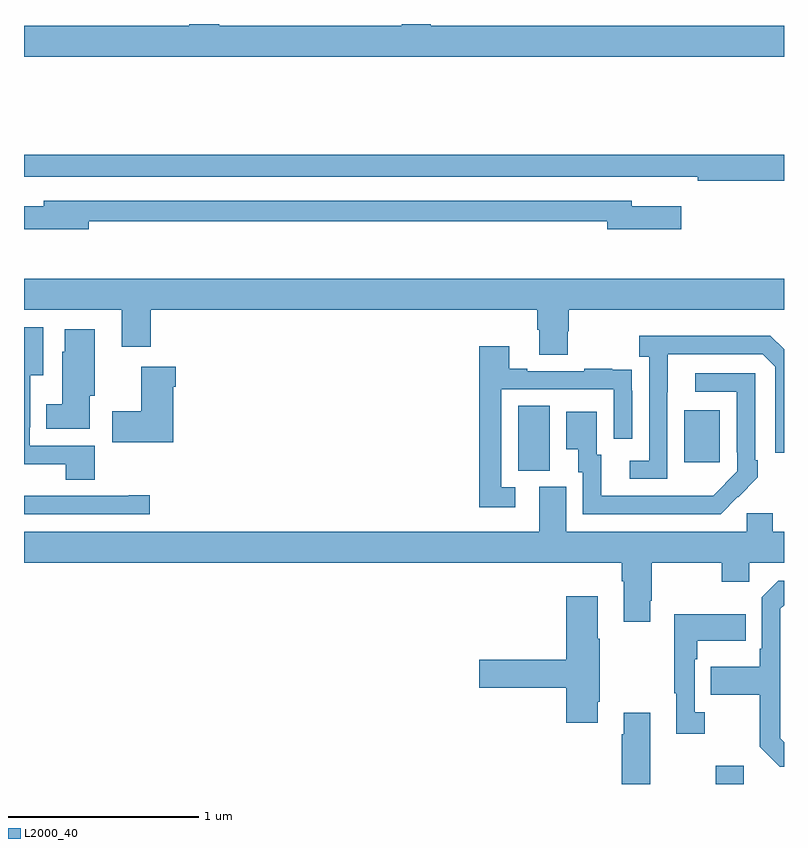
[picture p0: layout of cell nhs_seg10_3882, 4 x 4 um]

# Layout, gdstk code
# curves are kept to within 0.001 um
import gdstk
lib = gdstk.Library(unit=1e-6, precision=1e-09)
def R(c, l, rs):  # rectangles x0, y0, x1, y1
    for r in rs: c.add(gdstk.rectangle(r[:2], r[2:], *l))
def P(c, l, *ps):  # polygons
    for p in ps: c.add(gdstk.Polygon(p, *l))
L2000_40 = (2000, 40)

nhs_seg10_3882 = lib.new_cell('nhs_seg10_3882')
R(nhs_seg10_3882, L2000_40, [(328.642,1284.5,328.789,1284.595), (327.602,1286.149,327.766,1286.492), (328.475,1286.193,328.663,1286.467)])
P(nhs_seg10_3882, L2000_40, [(329,1288.492),(327.14,1288.492),(327.14,1288.5),(326.987,1288.5),(326.987,1288.492),(326.027,1288.492),(326.027,1288.5),(325.871,1288.5),(325.871,1288.492),(325,1288.492),(325,1288.328),(329,1288.328)],
  [(329,1287.812),(325,1287.812),(325,1287.696),(328.294,1287.696),(328.294,1287.695),(328.546,1287.695),(328.546,1287.676),(329,1287.676)],
  [(325.342,1287.462),(328.07,1287.462),(328.07,1287.419),(328.459,1287.419),(328.459,1287.541),(328.198,1287.541),(328.198,1287.57),(325.103,1287.57),(325.103,1287.541),(325,1287.541),(325,1287.419),(325.342,1287.419)],
  [(327.861,1286.883),(327.866,1286.883),(327.866,1286.996),(329,1286.996),(329,1287.16),(325,1287.16),(325,1286.996),(325.514,1286.996),(325.514,1286.802),(325.667,1286.802),(325.667,1286.996),(327.701,1286.996),(327.701,1286.89),(327.713,1286.89),(327.713,1286.758),(327.861,1286.758)],
  [(325.373,1286.28),(325.029,1286.28),(325.029,1286.377),(325.033,1286.377),(325.033,1286.651),(325.102,1286.651),(325.102,1286.905),(325,1286.905),(325,1286.184),(325.22,1286.184),(325.22,1286.101),(325.373,1286.101)],
  [(325.345,1286.544),(325.372,1286.544),(325.372,1286.893),(325.214,1286.893),(325.214,1286.775),(325.202,1286.775),(325.202,1286.5),(325.118,1286.5),(325.118,1286.369),(325.345,1286.369)],
  [(328.386,1286.563),(328.387,1286.763),(328.887,1286.763),(328.953,1286.697),(328.953,1286.244),(329,1286.244),(329,1286.788),(328.928,1286.86),(328.239,1286.86),(328.239,1286.75),(328.29,1286.75),(328.29,1286.202),(328.188,1286.202),(328.188,1286.106),(328.386,1286.106)],
  [(327.586,1286.061),(327.513,1286.061),(327.513,1286.577),(328.104,1286.577),(328.104,1286.316),(328.2,1286.316),(328.2,1286.57),(328.199,1286.57),(328.199,1286.679),(328.097,1286.679),(328.097,1286.686),(327.949,1286.686),(327.949,1286.673),(327.649,1286.673),(327.649,1286.686),(327.553,1286.686),(327.553,1286.803),(327.397,1286.803),(327.397,1285.956),(327.586,1285.956)],
  [(325.786,1286.591),(325.799,1286.591),(325.799,1286.695),(325.616,1286.695),(325.616,1286.463),(325.464,1286.463),(325.464,1286.3),(325.786,1286.3)],
  [(328.757,1286.011),(328.758,1286.01),(328.863,1286.115),(328.863,1286.203),(328.848,1286.203),(328.848,1286.661),(328.533,1286.661),(328.533,1286.565),(328.752,1286.565),(328.752,1286.245),(328.755,1286.245),(328.755,1286.145),(328.627,1286.017),(328.039,1286.016),(328.039,1286.232),(328.015,1286.232),(328.015,1286.458),(327.854,1286.458),(327.854,1286.261),(327.917,1286.261),(327.917,1286.142),(327.942,1286.142),(327.942,1285.92),(328.666,1285.92)],
  [(328.297,1285.465),(328.305,1285.465),(328.305,1285.664),(328.672,1285.664),(328.672,1285.565),(328.818,1285.565),(328.818,1285.664),(329,1285.664),(329,1285.828),(328.942,1285.828),(328.942,1285.926),(328.803,1285.926),(328.803,1285.828),(327.853,1285.828),(327.853,1286.064),(327.713,1286.064),(327.713,1285.828),(325,1285.828),(325,1285.664),(328.145,1285.664),(328.145,1285.568),(328.157,1285.568),(328.157,1285.353),(328.297,1285.353)],
  [(325.663,1286.021),(325.55,1286.021),(325.55,1286.016),(325,1286.016),(325,1285.92),(325.663,1285.92)],
  [(329,1284.721),(328.98,1284.741),(328.98,1285.422),(329,1285.442),(329,1285.569),(328.971,1285.569),(328.884,1285.482),(328.884,1285.213),(328.872,1285.213),(328.872,1285.117),(328.615,1285.117),(328.615,1284.97),(328.872,1284.97),(328.872,1284.697),(328.977,1284.591),(329,1284.591)],
  [(328.021,1284.934),(328.029,1284.934),(328.029,1285.265),(328.021,1285.265),(328.021,1285.489),(327.854,1285.489),(327.854,1285.154),(327.396,1285.154),(327.396,1285.007),(327.854,1285.007),(327.854,1284.822),(328.021,1284.822)],
  [(328.582,1284.878),(328.53,1284.878),(328.53,1285.157),(328.543,1285.157),(328.543,1285.253),(328.799,1285.253),(328.799,1285.393),(328.422,1285.393),(328.422,1284.977),(328.433,1284.977),(328.433,1284.765),(328.582,1284.765)],
  [(328.297,1284.874),(328.157,1284.874),(328.157,1284.761),(328.145,1284.761),(328.145,1284.5),(328.297,1284.5)])

lib.write_gds('nhs_seg10_3882.gds')
